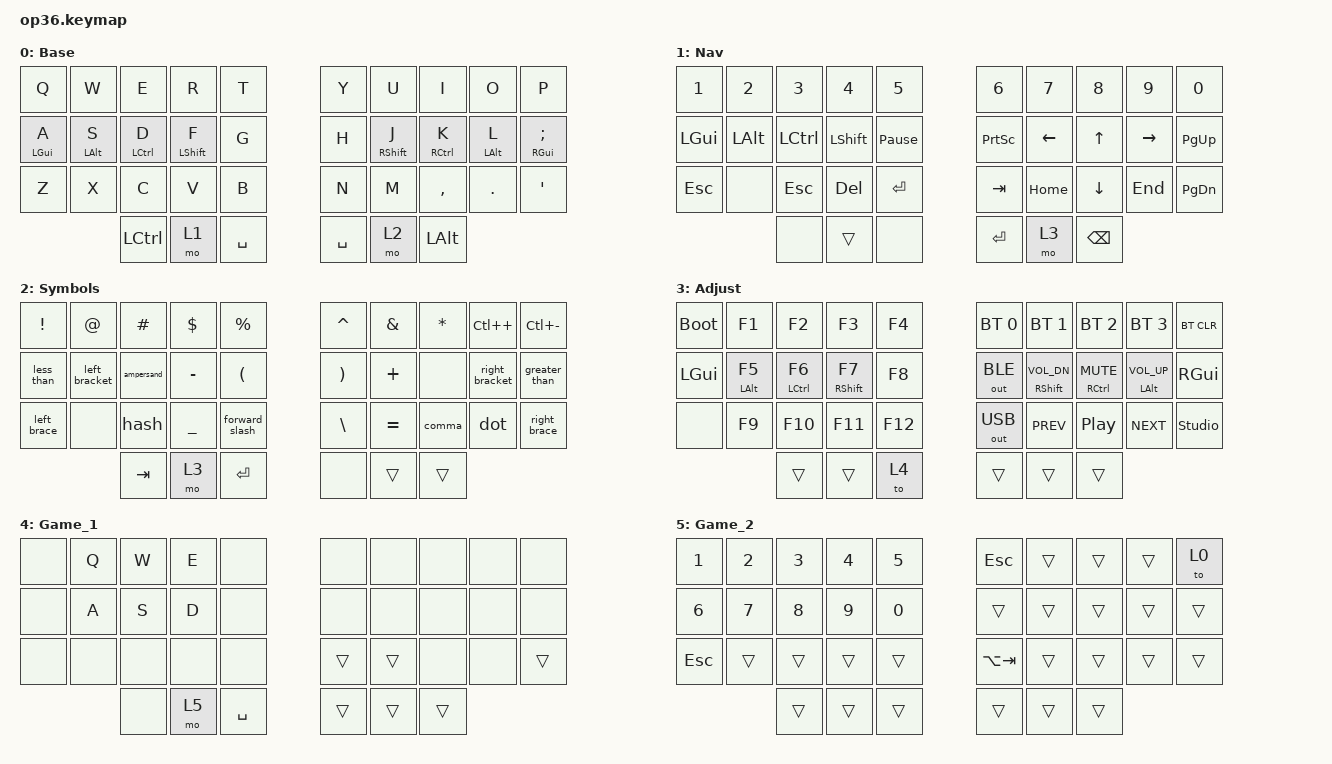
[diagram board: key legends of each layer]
#include "keys_ru.h"
#include <behaviors.dtsi>
#include <dt-bindings/zmk/bt.h>
#include <dt-bindings/zmk/keys.h>
#include <dt-bindings/zmk/outputs.h>

&mt {
    quick-tap-ms = <200>;
    flavor = "tap-preferred";
    require-prior-idle-ms = <125>;
};

/ {
    behaviors {
        hml: home_row_mod_left {
            compatible = "zmk,behavior-hold-tap";
            #binding-cells = <2>;
            flavor = "balanced";
            require-prior-idle-ms = <150>;
            tapping-term-ms = <280>;
            quick-tap-ms = <175>;
            bindings = <&kp>, <&kp>;

            hold-trigger-key-positions = <5 6 7 8 9 15 16 17 18 19 25 26 27 28 29 33 34 35>;
            hold-trigger-on-release;
        };

        hmr: home_row_mod_right {
            compatible = "zmk,behavior-hold-tap";
            #binding-cells = <2>;
            flavor = "balanced";
            require-prior-idle-ms = <150>;
            tapping-term-ms = <280>;
            quick-tap-ms = <175>;
            bindings = <&kp>, <&kp>;

            hold-trigger-key-positions = <0 1 2 3 4 10 11 12 13 14 20 21 22 23 24 30 31 32>;
            hold-trigger-on-release;
        };
    };

    combos {
        compatible = "zmk,combos";

        kha {
            bindings = <&kp LBKT>;
            key-positions = <6 7>;
            layers = <0>;
        };

        hrdsgn {
            bindings = <&kp RBKT>;
            key-positions = <7 8>;
            layers = <0>;
        };

        yo {
            bindings = <&kp GRAVE>;
            key-positions = <3 2>;
            layers = <0>;
        };

        dot {
            bindings = <&kp RU_DOT>;
            key-positions = <22 23>;
            layers = <0>;
        };

        comma {
            bindings = <&kp RU_COMMA>;
            key-positions = <26 27>;
            layers = <0>;
        };
    };

    macros {
        chlg: cl {
            compatible = "zmk,behavior-macro";
            #binding-cells = <0>;
            bindings = <&kp LS(LEFT_ALT)>;
            label = "CL";
        };

        left_bracket: left_bracket {
            compatible = "zmk,behavior-macro";
            #binding-cells = <0>;
            bindings = <&chlg &kp LBKT &chlg>;
            label = "LEFT_BRACKET";
        };

        right_bracket: right_bracket {
            compatible = "zmk,behavior-macro";
            #binding-cells = <0>;
            bindings = <&chlg &kp RBKT &chlg>;
            label = "RIGHT_BRACKET";
        };

        left_brace: left_brace {
            compatible = "zmk,behavior-macro";
            #binding-cells = <0>;
            bindings = <&chlg &kp LBRC &chlg>;
            label = "LEFT_BRACE";
        };

        right_brace: right_brace {
            compatible = "zmk,behavior-macro";
            #binding-cells = <0>;
            bindings = <&chlg &kp RBRC &chlg>;
            label = "RIGHT_BRACE";
        };

        less_than: less_than {
            compatible = "zmk,behavior-macro";
            #binding-cells = <0>;
            bindings = <&chlg &kp LT &chlg>;
            label = "LESS_THAN";
        };

        greater_than: greater_than {
            compatible = "zmk,behavior-macro";
            #binding-cells = <0>;
            bindings = <&chlg &kp GT &chlg>;
            label = "GREATER_THAN";
        };

        forward_slash: forward_slash {
            compatible = "zmk,behavior-macro";
            #binding-cells = <0>;
            bindings = <&chlg &kp SLASH &chlg>;
            label = "FORWARD_SLASH";
        };

        ampersand: ampersand {
            compatible = "zmk,behavior-macro";
            #binding-cells = <0>;
            bindings = <&chlg &kp AMPERSAND &chlg>;
            label = "AMPERSAND";
        };

        hash: hash {
            compatible = "zmk,behavior-macro";
            #binding-cells = <0>;
            bindings = <&chlg &kp HASH &chlg>;
            label = "HASH";
        };

        comma: comma {
            compatible = "zmk,behavior-macro";
            #binding-cells = <0>;
            bindings = <&chlg &kp COMMA &chlg>;
            label = "COMMA";
        };

        dot: dot {
            compatible = "zmk,behavior-macro";
            #binding-cells = <0>;
            bindings = <&chlg &kp DOT &chlg>;
            label = "DOT";
        };
    };

    keymap {
        compatible = "zmk,keymap";

        base {
            bindings = <
  &kp Q        &kp W        &kp E                &kp R              &kp T                          &kp Y  &kp U               &kp I                 &kp O        &kp P
  &hml LGUI A  &hml LALT S  &hml LEFT_CONTROL D  &hml LEFT_SHIFT F  &kp G                          &kp H  &hmr RIGHT_SHIFT J  &hmr RIGHT_CONTROL K  &hmr LALT L  &hmr RGUI SEMICOLON
  &kp Z        &kp X        &kp C                &kp V              &kp B                          &kp N  &kp M               &kp COMMA             &kp DOT      &kp SQT
                                                 &kp LEFT_CONTROL   &mo 1  &kp SPACE    &kp SPACE  &mo 2  &kp LEFT_ALT
            >;

            display-name = "Base";
        };

        nav {
            bindings = <
  &kp N1      &kp N2    &kp N3            &kp N4          &kp N5                               &kp N6           &kp N7          &kp N8    &kp N9           &kp N0
  &kp LGUI    &kp LALT  &kp LEFT_CONTROL  &kp LEFT_SHIFT  &kp PAUSE_BREAK                      &kp PRINTSCREEN  &kp LEFT_ARROW  &kp UP    &kp RIGHT_ARROW  &kp PAGE_UP
  &kp ESCAPE  &none     &kp ESCAPE        &kp DELETE      &kp ENTER                            &kp TAB          &kp HOME        &kp DOWN  &kp END          &kp PAGE_DOWN
                                          &none           &trans           &none    &kp ENTER  &mo 3            &kp BACKSPACE
            >;

            display-name = "Nav";
        };

        sym {
            bindings = <
  &kp EXCL     &kp AT_SIGN    &kp HASH    &kp DLLR   &kp PRCNT                           &kp CARET  &kp AMPS   &kp STAR  &kp LC(PLUS)    &kp LC(MINUS)
  &less_than   &left_bracket  &ampersand  &kp MINUS  &kp LPAR                            &kp RPAR   &kp PLUS   &none     &right_bracket  &greater_than
  &left_brace  &none          &hash       &kp UNDER  &forward_slash                      &kp BSLH   &kp EQUAL  &comma    &dot            &right_brace
                                          &kp TAB    &mo 3           &kp ENTER    &none  &trans     &trans
            >;

            display-name = "Symbols";
        };

        adj {
            bindings = <
  &bootloader  &kp F1        &kp F2                &kp F3               &kp F4                    &bt BT_SEL 0  &bt BT_SEL 1               &bt BT_SEL 2               &bt BT_SEL 3        &bt BT_CLR
  &kp LGUI     &hml LALT F5  &hml LEFT_CONTROL F6  &hml RIGHT_SHIFT F7  &kp F8                    &out OUT_BLE  &hmr RIGHT_SHIFT C_VOL_DN  &hmr RIGHT_CONTROL C_MUTE  &hmr LALT C_VOL_UP  &kp RGUI
  &none        &kp F9        &kp F10               &kp F11              &kp F12                   &out OUT_USB  &kp C_PREV                 &kp C_PP                   &kp C_NEXT          &studio_unlock
                                                   &trans               &trans   &to 4    &trans  &trans        &trans
            >;

            display-name = "Adjust";
        };

        Game_1 {
            bindings = <
  &none  &kp Q  &kp W  &kp E  &none                       &none   &none   &none  &none  &none
  &none  &kp A  &kp S  &kp D  &none                       &none   &none   &none  &none  &none
  &none  &none  &none  &none  &none                       &trans  &trans  &none  &none  &trans
                       &none  &mo 5  &kp SPACE    &trans  &trans  &trans
            >;
        };

        Game_2 {
            bindings = <
  &kp NUMBER_1  &kp NUMBER_2  &kp NUMBER_3  &kp NUMBER_4  &kp NUMBER_5                    &kp ESC      &trans  &trans  &trans  &to 0
  &kp NUMBER_6  &kp NUMBER_7  &kp NUMBER_8  &kp NUMBER_9  &kp NUMBER_0                    &trans       &trans  &trans  &trans  &trans
  &kp ESCAPE    &trans        &trans        &trans        &trans                          &kp LA(TAB)  &trans  &trans  &trans  &trans
                                            &trans        &trans        &trans    &trans  &trans       &trans
            >;
        };
    };
};
